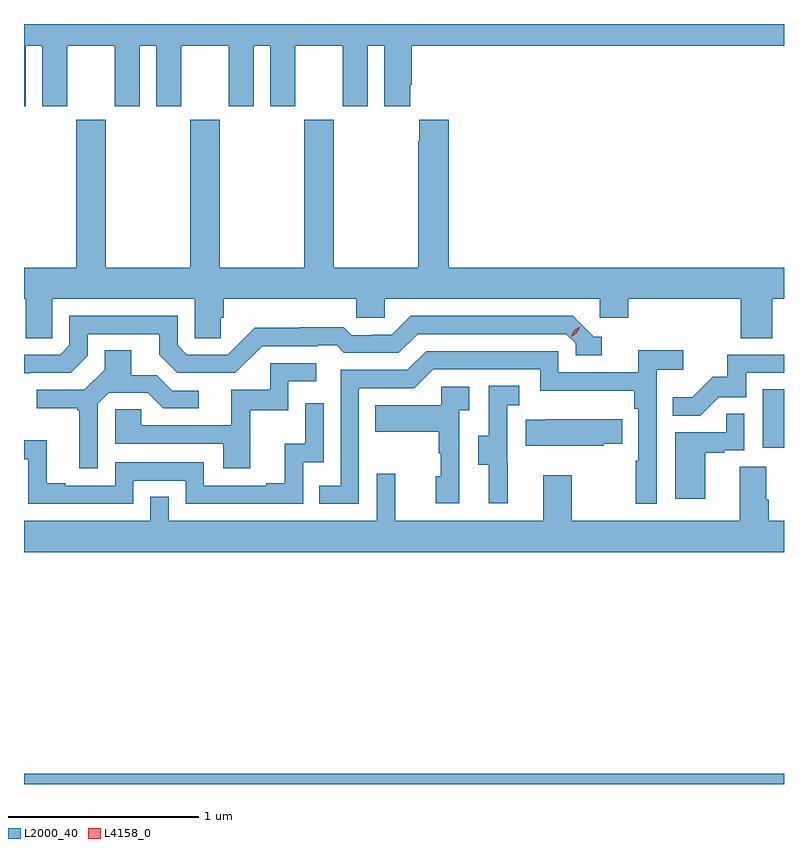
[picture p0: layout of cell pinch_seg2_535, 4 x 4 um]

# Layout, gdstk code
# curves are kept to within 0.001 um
import gdstk
lib = gdstk.Library(unit=1e-6, precision=1e-09)
def R(c, l, rs):  # rectangles x0, y0, x1, y1
    for r in rs: c.add(gdstk.rectangle(r[:2], r[2:], *l))
def P(c, l, *ps):  # polygons
    for p in ps: c.add(gdstk.Polygon(p, *l))
L2000_40 = (2000, 40)
L4158_0 = (4158, 0)

pinch_seg2_535 = lib.new_cell('pinch_seg2_535')
R(pinch_seg2_535, L2000_40, [(1091.875,605.123,1095.875,605.176), (1095.764,606.894,1095.875,607.201)])
P(pinch_seg2_535, L2000_40, [(1091.884,609.008),(1091.972,609.008),(1091.972,608.691),(1092.103,608.691),(1092.103,609.008),(1092.353,609.008),(1092.353,608.691),(1092.484,608.691),(1092.484,609.008),(1092.572,609.008),(1092.572,608.691),(1092.703,608.691),(1092.703,609.008),(1092.953,609.008),(1092.953,608.691),(1093.084,608.691),(1093.084,609.008),(1093.172,609.008),(1093.172,608.691),(1093.303,608.691),(1093.303,609.008),(1093.553,609.008),(1093.553,608.691),(1093.684,608.691),(1093.684,609.008),(1093.772,609.008),(1093.772,608.691),(1093.909,608.691),(1093.909,608.803),(1093.916,608.803),(1093.916,609.008),(1095.875,609.008),(1095.875,609.123),(1091.875,609.123),(1091.875,608.691),(1091.884,608.691)],
  [(1092.024,607.676),(1092.774,607.676),(1092.774,607.468),(1092.911,607.468),(1092.911,607.578),(1092.926,607.578),(1092.926,607.676),(1093.623,607.676),(1093.623,607.578),(1093.773,607.578),(1093.773,607.676),(1094.904,607.676),(1094.904,607.578),(1095.056,607.578),(1095.056,607.676),(1095.647,607.676),(1095.647,607.468),(1095.812,607.468),(1095.812,607.676),(1095.875,607.676),(1095.875,607.84),(1094.111,607.84),(1094.111,608.62),(1093.955,608.62),(1093.955,608.507),(1093.951,608.507),(1093.951,607.84),(1093.506,607.84),(1093.506,608.62),(1093.351,608.62),(1093.351,607.84),(1092.906,607.84),(1092.906,608.62),(1092.751,608.62),(1092.751,607.84),(1092.306,607.84),(1092.306,608.62),(1092.151,608.62),(1092.151,607.84),(1091.875,607.84),(1091.875,607.676),(1091.885,607.676),(1091.885,607.468),(1092.024,607.468)],
  [(1091.904,607.287),(1092.12,607.287),(1092.21,607.377),(1092.21,607.491),(1092.587,607.491),(1092.587,607.381),(1092.681,607.287),(1092.987,607.287),(1093.128,607.428),(1093.421,607.428),(1093.421,607.431),(1093.52,607.431),(1093.559,607.392),(1093.848,607.392),(1093.947,607.491),(1094.73,607.491),(1094.778,607.443),(1094.778,607.38),(1094.917,607.38),(1094.917,607.476),(1094.874,607.476),(1094.763,607.587),(1093.91,607.587),(1093.811,607.488),(1093.704,607.488),(1093.704,607.485),(1093.601,607.485),(1093.559,607.528),(1093.326,607.528),(1093.326,607.525),(1093.09,607.525),(1092.948,607.383),(1092.732,607.383),(1092.684,607.431),(1092.684,607.587),(1092.114,607.587),(1092.114,607.431),(1092.066,607.383),(1091.875,607.383),(1091.875,607.286)],
  [(1093.638,607.206),(1093.929,607.206),(1094.028,607.305),(1094.592,607.305),(1094.592,607.193),(1095.088,607.193),(1095.088,607.097),(1095.108,607.097),(1095.108,606.824),(1095.096,606.824),(1095.096,606.597),(1095.204,606.597),(1095.204,607.304),(1095.346,607.304),(1095.346,607.406),(1095.107,607.406),(1095.107,607.29),(1094.688,607.29),(1094.688,607.401),(1093.991,607.401),(1093.892,607.302),(1093.542,607.302),(1093.542,606.693),(1093.429,606.693),(1093.429,606.597),(1093.638,606.597)],
  [(1092.264,607.125),(1092.321,607.182),(1092.527,607.182),(1092.608,607.101),(1092.796,607.101),(1092.796,607.194),(1092.654,607.194),(1092.574,607.274),(1092.439,607.274),(1092.439,607.406),(1092.299,607.406),(1092.299,607.304),(1092.192,607.197),(1091.943,607.197),(1091.943,607.1),(1092.156,607.1),(1092.156,607.089),(1092.167,607.089),(1092.167,606.786),(1092.264,606.786)],
  [(1095.531,607.158),(1095.675,607.158),(1095.675,607.287),(1095.875,607.287),(1095.875,607.383),(1095.577,607.383),(1095.577,607.266),(1095.5,607.266),(1095.393,607.159),(1095.289,607.159),(1095.289,607.06),(1095.433,607.06)],
  [(1093.067,607.089),(1093.266,607.089),(1093.266,607.242),(1093.414,607.242),(1093.414,607.338),(1093.17,607.338),(1093.17,607.197),(1092.965,607.197),(1092.965,607.011),(1092.491,607.011),(1092.491,607.095),(1092.354,607.095),(1092.354,606.915),(1092.923,606.915),(1092.923,606.786),(1093.067,606.786)],
  [(1094.42,606.813),(1094.418,606.813),(1094.418,607.117),(1094.482,607.117),(1094.482,607.22),(1094.322,607.22),(1094.322,606.957),(1094.267,606.957),(1094.267,606.802),(1094.321,606.802),(1094.321,606.6),(1094.42,606.6)],
  [(1094.166,607.091),(1094.218,607.091),(1094.218,607.215),(1094.07,607.215),(1094.07,607.117),(1093.723,607.117),(1093.723,606.977),(1094.058,606.977),(1094.058,606.863),(1094.068,606.863),(1094.068,606.744),(1094.042,606.744),(1094.042,606.6),(1094.166,606.6)],
  [(1092.45,606.72),(1092.726,606.72),(1092.726,606.597),(1093.344,606.597),(1093.344,606.816),(1093.452,606.816),(1093.452,607.126),(1093.356,607.126),(1093.356,606.914),(1093.247,606.914),(1093.247,606.706),(1093.151,606.706),(1093.151,606.693),(1092.822,606.693),(1092.822,606.816),(1092.354,606.816),(1092.354,606.693),(1092.091,606.693),(1092.091,606.706),(1091.995,606.706),(1091.995,606.931),(1091.875,606.931),(1091.875,606.833),(1091.898,606.833),(1091.898,606.597),(1092.45,606.597)],
  [(1095.46,606.867),(1095.56,606.867),(1095.56,606.879),(1095.666,606.879),(1095.666,607.073),(1095.571,607.073),(1095.571,606.975),(1095.302,606.975),(1095.302,606.624),(1095.46,606.624)],
  [(1094.925,606.913),(1095.023,606.913),(1095.023,607.042),(1094.623,607.042),(1094.623,607.039),(1094.515,607.039),(1094.515,606.902),(1094.925,606.902)],
  [(1095.875,606.508),(1095.794,606.508),(1095.794,606.62),(1095.781,606.62),(1095.781,606.794),(1095.641,606.794),(1095.641,606.508),(1094.757,606.508),(1094.757,606.748),(1094.609,606.748),(1094.609,606.508),(1093.829,606.508),(1093.829,606.757),(1093.731,606.757),(1093.731,606.508),(1092.636,606.508),(1092.636,606.635),(1092.54,606.635),(1092.54,606.508),(1091.875,606.508),(1091.875,606.344),(1095.875,606.344)])
P(pinch_seg2_535, L4158_0, [(1094.754,607.477),(1094.754,607.477),(1094.77,607.51),(1094.801,607.529),(1094.801,607.529),(1094.801,607.529),(1094.785,607.496),(1094.755,607.477)])

lib.write_gds('pinch_seg2_535.gds')
